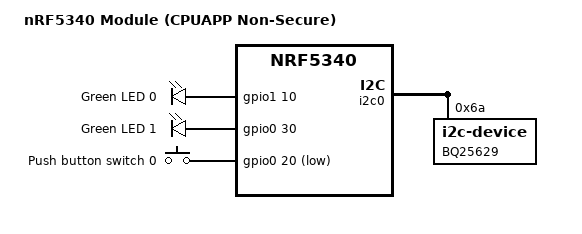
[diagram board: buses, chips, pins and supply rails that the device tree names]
/dts-v1/;
#include <nordic/nrf5340_cpuappns_qkaa.dtsi>
#include "nrf5340_module-pinctrl.dtsi"
#include <zephyr/dt-bindings/input/input-event-codes.h>
/ {
	model = "nRF5340 Module  (CPUAPP Non-Secure)";
	compatible = "UC3M,nrf5340-module-cpuapp-ns";

	chosen {
		zephyr,sram = &sram0_ns;
		zephyr,flash = &flash0;
		zephyr,code-partition = &slot0_ns_partition;
		zephyr,bt-hci = &bt_hci_ipc0;
	};

	leds   {
		compatible = "gpio-leds";
		led0: led_0 {
			gpios = <&gpio1 10 GPIO_ACTIVE_HIGH>;
			label = "Green LED 0";
		};
		led1: led_1 {
			gpios = <&gpio0 30 GPIO_ACTIVE_HIGH>;
			label = "Green LED 1";
		};
	};
	buttons {
		compatible = "gpio-keys";
		INTN: INTN {
			gpios = <&gpio0 20 (GPIO_ACTIVE_LOW)>;
			label = "Push button switch 0";
			zephyr,code = <INPUT_KEY_0>;
		};
	};

	aliases {
		led0 = &led0;
		led1 = &led1;
		intn = &INTN;
	};
};

#include "nrf5340_module-cpuapp_partitioning.dtsi"
#include "nrf5340_module-shared_sram.dtsi"

&gpiote {
	status = "okay";
};

&gpio0 {
	status = "okay";
};

&gpio1 {
	status = "okay";
};

&i2c0 {
	//compatible = "nordic,nrf-twim";
	status = "okay";
	pinctrl-0 = <&i2c0_default>;
	pinctrl-1 = <&i2c0_sleep>;
	pinctrl-names = "default", "sleep";
		bq25629: bq25629@6A{
			compatible = "i2c-device";
			status = "okay";
			label = "BQ25629";
			reg = <0x6A>;
		};

}; 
